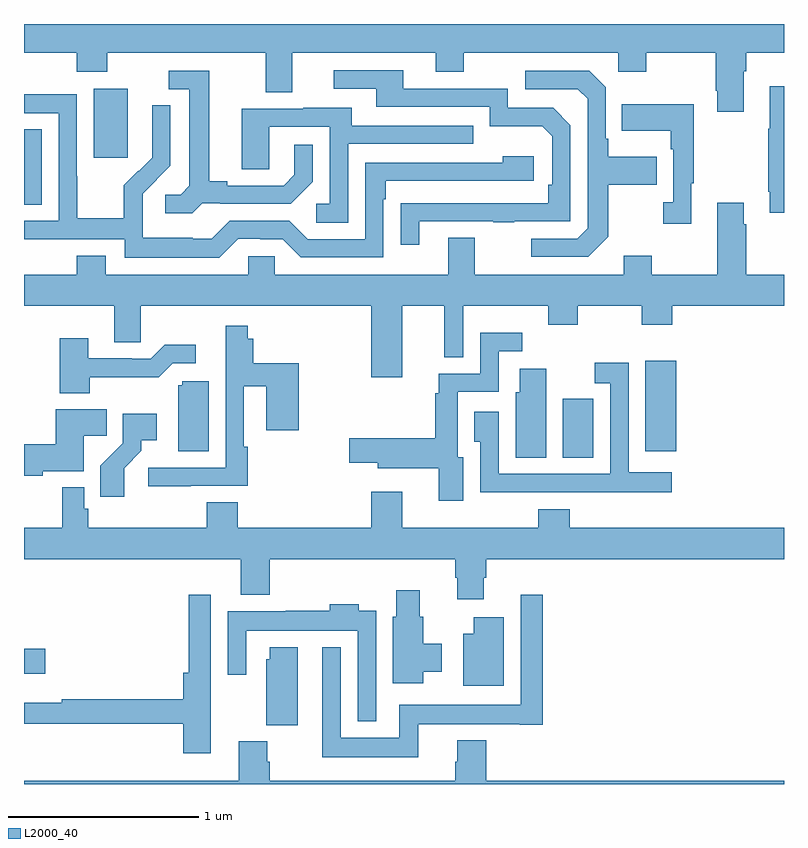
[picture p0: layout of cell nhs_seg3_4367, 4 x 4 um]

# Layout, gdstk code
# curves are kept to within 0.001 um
import gdstk
lib = gdstk.Library(unit=1e-6, precision=1e-09)
def R(c, l, rs):  # rectangles x0, y0, x1, y1
    for r in rs: c.add(gdstk.rectangle(r[:2], r[2:], *l))
def P(c, l, *ps):  # polygons
    for p in ps: c.add(gdstk.Polygon(p, *l))
L2000_40 = (2000, 40)

nhs_seg3_4367 = lib.new_cell('nhs_seg3_4367')
R(nhs_seg3_4367, L2000_40, [(343,698.981,343.111,699.111), (345.836,700.117,345.997,700.428), (346.271,700.152,346.432,700.627), (343,701.449,343.093,701.846), (343.367,701.697,343.546,702.058)])
P(nhs_seg3_4367, L2000_40, [(346.789,702.152),(346.802,702.152),(346.802,702.248),(347,702.248),(347,702.4),(343,702.4),(343,702.248),(343.277,702.248),(343.277,702.149),(343.437,702.149),(343.437,702.248),(344.273,702.248),(344.273,702.04),(344.413,702.04),(344.413,702.248),(345.167,702.248),(345.167,702.149),(345.315,702.149),(345.315,702.248),(346.128,702.248),(346.128,702.149),(346.275,702.149),(346.275,702.248),(346.642,702.248),(346.642,702.049),(346.649,702.049),(346.649,701.937),(346.789,701.937)],
  [(345.079,701.361),(345.469,701.361),(345.469,701.356),(345.581,701.356),(345.581,701.361),(345.876,701.361),(345.876,701.868),(345.786,701.958),(345.546,701.958),(345.546,702.06),(344.995,702.06),(344.995,702.156),(344.631,702.156),(344.631,702.06),(344.855,702.06),(344.855,701.964),(345.45,701.964),(345.45,701.861),(345.727,701.861),(345.78,701.808),(345.78,701.554),(345.76,701.554),(345.76,701.457),(344.983,701.456),(344.983,701.238),(345.079,701.238)],
  [(346.075,701.281),(346.075,701.554),(346.331,701.554),(346.331,701.701),(346.075,701.701),(346.075,701.797),(346.062,701.797),(346.062,702.066),(345.975,702.153),(345.639,702.153),(345.639,702.057),(345.915,702.057),(345.966,702.006),(345.966,701.325),(345.912,701.271),(345.669,701.271),(345.669,701.175),(345.969,701.175)],
  [(343.938,701.457),(344.032,701.457),(344.032,701.454),(344.404,701.454),(344.52,701.57),(344.52,701.764),(344.423,701.764),(344.423,701.607),(344.366,701.55),(344.071,701.55),(344.071,701.573),(343.975,701.573),(343.975,702.153),(343.761,702.153),(343.761,702.057),(343.871,702.057),(343.871,701.549),(343.824,701.502),(343.743,701.502),(343.743,701.405),(343.886,701.405)],
  [(347,702.073),(346.925,702.073),(346.925,701.849),(346.918,701.849),(346.918,701.518),(346.925,701.518),(346.925,701.406),(347,701.406)],
  [(344.127,701.271),(344.243,701.271),(344.243,701.268),(344.361,701.268),(344.457,701.172),(344.892,701.172),(344.892,701.477),(344.905,701.477),(344.905,701.574),(345.682,701.574),(345.682,701.704),(345.521,701.704),(345.521,701.67),(344.796,701.67),(344.796,701.268),(344.493,701.268),(344.397,701.364),(344.082,701.364),(343.989,701.271),(343.889,701.271),(343.889,701.275),(343.626,701.275),(343.626,701.409),(343.624,701.409),(343.624,701.506),(343.77,701.654),(343.77,701.972),(343.674,701.972),(343.674,701.818),(343.676,701.818),(343.676,701.696),(343.605,701.625),(343.602,701.628),(343.525,701.551),(343.525,701.377),(343.281,701.377),(343.281,701.6),(343.278,701.6),(343.278,702.03),(343,702.03),(343,701.931),(343.182,701.931),(343.182,701.364),(343,701.364),(343,701.268),(343.53,701.268),(343.53,701.171),(344.027,701.171)],
  [(346.513,701.561),(346.525,701.561),(346.525,701.977),(346.147,701.977),(346.147,701.837),(346.404,701.837),(346.404,701.741),(346.416,701.741),(346.416,701.462),(346.365,701.462),(346.365,701.349),(346.513,701.349)],
  [(344.706,701.769),(345.365,701.769),(345.365,701.865),(344.725,701.865),(344.725,701.959),(344.471,701.959),(344.471,701.955),(344.147,701.955),(344.147,701.635),(344.292,701.635),(344.292,701.859),(344.61,701.859),(344.61,701.454),(344.538,701.454),(344.538,701.353),(344.706,701.353)],
  [(344.992,700.916),(345.212,700.916),(345.212,700.645),(345.313,700.645),(345.313,700.916),(345.76,700.916),(345.76,700.817),(345.915,700.817),(345.915,700.916),(346.252,700.916),(346.252,700.817),(346.412,700.817),(346.412,700.916),(347,700.916),(347,701.08),(346.802,701.08),(346.802,701.345),(346.789,701.345),(346.789,701.458),(346.649,701.458),(346.649,701.08),(346.305,701.08),(346.305,701.179),(346.157,701.179),(346.157,701.08),(345.373,701.08),(345.373,701.275),(345.233,701.275),(345.233,701.08),(344.319,701.08),(344.319,701.178),(344.181,701.178),(344.181,701.08),(343.429,701.08),(343.429,701.179),(343.277,701.179),(343.277,701.08),(343,701.08),(343,700.916),(343.475,700.916),(343.475,700.726),(343.614,700.726),(343.614,700.916),(344.828,700.916),(344.828,700.542),(344.992,700.542)],
  [(343.877,699.969),(344.177,699.969),(344.177,700.175),(344.157,700.175),(344.157,700.493),(344.276,700.493),(344.276,700.263),(344.447,700.263),(344.447,700.615),(344.207,700.615),(344.207,700.744),(344.177,700.744),(344.177,700.813),(344.061,700.813),(344.061,700.065),(343.653,700.065),(343.653,699.967),(343.877,699.967)],
  [(345.313,700.119),(345.283,700.119),(345.283,700.464),(345.498,700.464),(345.498,700.677),(345.622,700.677),(345.622,700.774),(345.402,700.774),(345.402,700.56),(345.182,700.56),(345.182,700.457),(345.165,700.457),(345.165,700.221),(344.712,700.221),(344.712,700.091),(344.861,700.091),(344.861,700.061),(345.182,700.061),(345.182,699.891),(345.313,699.891)],
  [(343.347,700.542),(343.709,700.541),(343.782,700.614),(343.903,700.614),(343.903,700.711),(343.741,700.711),(343.668,700.638),(343.568,700.638),(343.568,700.641),(343.339,700.641),(343.339,700.747),(343.187,700.747),(343.187,700.457),(343.347,700.457)],
  [(345.623,699.936),(345.989,699.936),(345.989,699.935),(346.408,699.935),(346.408,700.042),(346.182,700.042),(346.182,700.618),(346.005,700.618),(346.005,700.509),(346.086,700.509),(346.086,700.032),(345.498,700.032),(345.498,700.36),(345.371,700.36),(345.371,700.201),(345.402,700.201),(345.402,699.935),(345.623,699.935)],
  [(345.748,700.585),(345.608,700.585),(345.608,700.461),(345.587,700.461),(345.587,700.117),(345.748,700.117)],
  [(343.972,700.521),(343.833,700.521),(343.833,700.5),(343.811,700.5),(343.811,700.152),(343.972,700.152)],
  [(343.098,700.046),(343.315,700.046),(343.315,700.234),(343.436,700.234),(343.436,700.372),(343.166,700.372),(343.166,700.187),(343,700.187),(343,700.022),(343.098,700.022)],
  [(343.528,700.063),(343.618,700.153),(343.618,700.208),(343.699,700.208),(343.699,700.348),(343.521,700.348),(343.521,700.193),(343.402,700.074),(343.402,699.912),(343.528,699.912)],
  [(345.421,699.486),(345.434,699.486),(345.434,699.584),(347,699.584),(347,699.748),(345.872,699.748),(345.872,699.847),(345.707,699.847),(345.707,699.748),(344.992,699.748),(344.992,699.937),(344.828,699.937),(344.828,699.748),(344.126,699.748),(344.126,699.884),(343.961,699.884),(343.961,699.748),(343.337,699.748),(343.337,699.849),(343.317,699.849),(343.317,699.961),(343.201,699.961),(343.201,699.748),(343,699.748),(343,699.584),(344.141,699.584),(344.141,699.395),(344.294,699.395),(344.294,699.584),(345.269,699.584),(345.269,699.486),(345.281,699.486),(345.281,699.372),(345.421,699.372)],
  [(345.1,698.99),(345.199,698.99),(345.199,699.138),(345.1,699.138),(345.1,699.279),(345.082,699.279),(345.082,699.421),(344.96,699.421),(344.96,699.279),(344.942,699.279),(344.942,698.931),(345.1,698.931)],
  [(345.074,698.714),(345.608,698.714),(345.608,698.712),(345.731,698.712),(345.731,699.397),(345.615,699.397),(345.615,698.818),(344.976,698.818),(344.976,698.644),(344.667,698.644),(344.667,699.121),(344.57,699.121),(344.57,698.54),(345.074,698.54)],
  [(343.984,698.823),(343.983,698.823),(343.983,699.397),(343.867,699.397),(343.867,698.986),(343.838,698.986),(343.838,698.846),(343.198,698.846),(343.198,698.827),(343,698.827),(343,698.718),(343.838,698.718),(343.838,698.562),(343.984,698.562)],
  [(344.853,699.313),(344.761,699.313),(344.761,699.346),(344.609,699.346),(344.609,699.313),(344.377,699.313),(344.377,699.31),(344.073,699.31),(344.073,698.976),(344.169,698.976),(344.169,699.206),(344.757,699.206),(344.757,698.729),(344.853,698.729)],
  [(345.526,699.277),(345.368,699.277),(345.368,699.19),(345.311,699.19),(345.311,698.918),(345.526,698.918)],
  [(344.44,699.121),(344.294,699.121),(344.294,699.057),(344.276,699.057),(344.276,698.71),(344.44,698.71)],
  [(347,698.416),(345.434,698.416),(345.434,698.629),(345.281,698.629),(345.281,698.517),(345.269,698.517),(345.269,698.416),(344.294,698.416),(344.294,698.516),(344.281,698.516),(344.281,698.625),(344.129,698.625),(344.129,698.416),(343,698.416),(343,698.4),(347,698.4)])

lib.write_gds('nhs_seg3_4367.gds')
